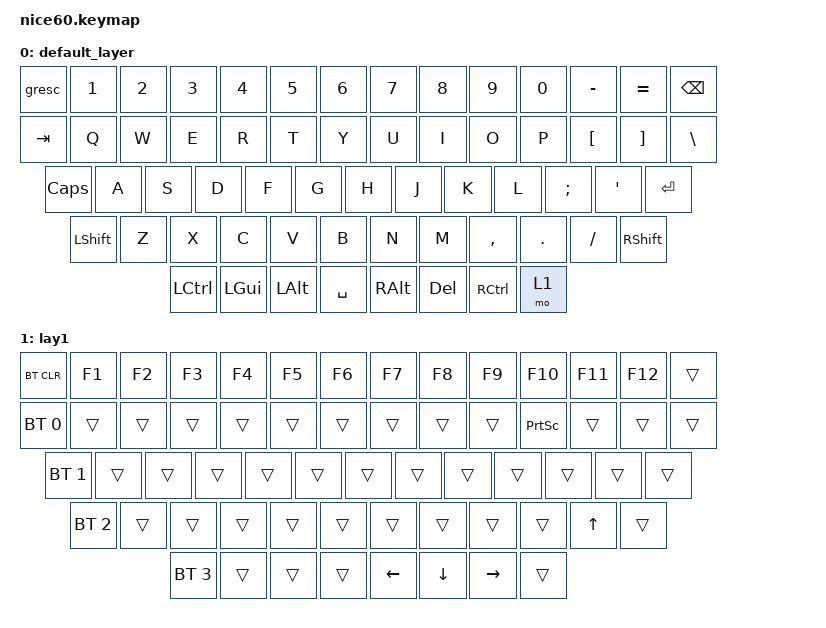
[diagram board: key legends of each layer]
/*
 * Copyright (c) 2021 Nick Winans
 *
 * SPDX-License-Identifier: MIT
 */

#include <behaviors.dtsi>
#include <dt-bindings/zmk/keys.h>
#include <dt-bindings/zmk/rgb.h>
#include <dt-bindings/zmk/bt.h>
#include <dt-bindings/zmk/outputs.h>
#include <dt-bindings/zmk/reset.h>
#include <dt-bindings/zmk/ext_power.h>

/ {
	keymap {
		compatible = "zmk,keymap";
		
		default_layer {
// ------------------------------------------------------------------------------------------
// | ESC |  1  |  2  |  3  |  4  |  5  |  6  |  7  |  8  |  9  |  0  |  -  |  =  |   BKSP   |
// | TAB  |  Q  |  W  |  E  |  R  |  T  |  Y  |  U  |  I  |  O  |  P  |  [  |  ]  |   "|"   |
// | CAPS  |  A  |  S  |  D  |  F  |  G  |  H  |  J  |  K  |  L  |  ;  |  '  |     ENTER    |
// |  SHIFT  |  Z  |  X  |  C  |  V  |  B  |  N  |  M  |  ,  |  .  |  /  |      SHIFT       |
// |  CTL  |  WIN  |  ALT  |            SPACE              |  ALT  |  WIN  |  CTL  |  MO(1) |
// ------------------------------------------------------------------------------------------
			bindings = <
	&gresc  &kp N1 &kp N2 &kp N3 &kp N4 &kp N5 &kp N6 &kp N7 &kp N8 &kp N9 &kp N0 &kp MINUS &kp EQUAL  &kp BSPC
	&kp TAB  &kp Q  &kp W  &kp E  &kp R  &kp T  &kp Y  &kp U  &kp I  &kp O  &kp P  &kp LBKT  &kp RBKT  &kp BSLH
	&kp CLCK  &kp A  &kp S  &kp D  &kp F  &kp G  &kp H  &kp J  &kp K  &kp L  &kp SEMI &kp SQT           &kp RET
	&kp LSHFT   &kp Z  &kp X  &kp C  &kp V  &kp B  &kp N  &kp M  &kp COMMA &kp DOT &kp FSLH           &kp RSHFT
	&kp LCTRL &kp LGUI &kp LALT             &kp SPACE                     &kp RALT  &kp DEL  &kp RCTRL   &mo 1
			>;
		};

		lay1 {
// ------------------------------------------------------------------------------------------------
// | BT CLR | F1  | F2  | F3  | F4  | F5  | F6  | F7  | F8  | F9  | F10  | F11 | F12 | EFFECT REV |
// |  BT 1   |   |  UP |   | HUEUP | SATUP | BRIUP | SPDUP |   |     |    |     |     |           |
// |   BT 2   | LT |  DN  | RT | HUEDN | SATDN | BRIDN | SPDDN |   |     |   |     |  EFFECT FORW |
// |    BT 3     |     |      |      |     |     |     |     |     |     |     |                  |
// |   BT 4  |      |      |             TOG RGB                | PRT SCR |       |       |  DEL  |
// ------------------------------------------------------------------------------------------------
			bindings = <
	&bt BT_CLR   &kp F1    &kp F2    &kp F3  &kp F4           &kp F5          &kp F6          &kp F7          &kp F8   &kp F9   &kp F10  &kp F11 &kp F12  &trans
	&bt BT_SEL 0  &trans    &trans    &trans  &trans  &trans &trans &trans  &trans   &trans   &kp PSCRN   &trans  &trans          &trans 
	&bt BT_SEL 1   &trans  &trans  &trans &trans &trans &trans &trans &trans   &trans   &trans   &trans        &trans
	&bt BT_SEL 2    &trans    &trans    &trans   &trans          &trans          &trans          &trans          &trans       &trans       &kp UP         &trans
	&bt BT_SEL 3  &trans   &trans                                   &trans                                        &kp LEFT     &kp DOWN     &kp RIGHT     &trans
			>;
		};
	};
};
